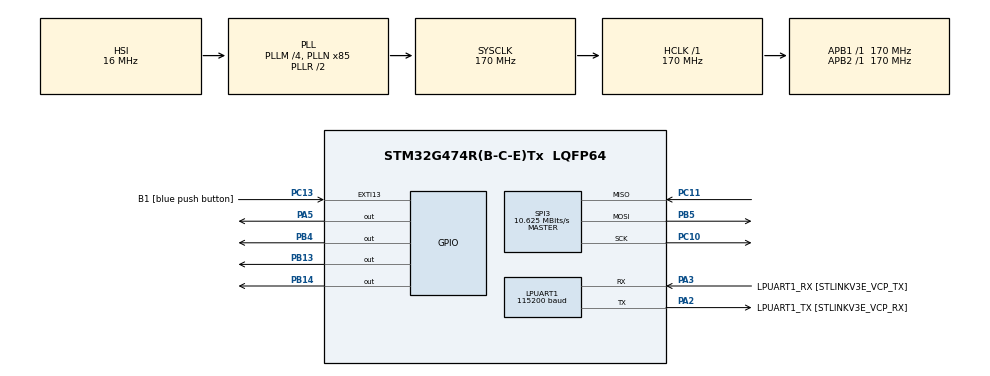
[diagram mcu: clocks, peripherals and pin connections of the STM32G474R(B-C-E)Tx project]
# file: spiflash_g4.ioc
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Dma.Request0=SPI3_RX
Dma.Request1=SPI3_TX
Dma.SPI3_RX.0.Direction=DMA_PERIPH_TO_MEMORY
Dma.SPI3_RX.0.EventEnable=DISABLE
Dma.SPI3_RX.0.Instance=DMA1_Channel1
Dma.SPI3_RX.0.MemDataAlignment=DMA_MDATAALIGN_BYTE
Dma.SPI3_RX.0.MemInc=DMA_MINC_ENABLE
Dma.SPI3_RX.0.Mode=DMA_NORMAL
Dma.SPI3_RX.0.PeriphDataAlignment=DMA_PDATAALIGN_BYTE
Dma.SPI3_RX.0.PeriphInc=DMA_PINC_DISABLE
Dma.SPI3_RX.0.Polarity=HAL_DMAMUX_REQ_GEN_RISING
Dma.SPI3_RX.0.Priority=DMA_PRIORITY_LOW
Dma.SPI3_RX.0.RequestNumber=1
Dma.SPI3_RX.0.SignalID=NONE
Dma.SPI3_RX.0.SyncEnable=DISABLE
Dma.SPI3_RX.0.SyncPolarity=HAL_DMAMUX_SYNC_NO_EVENT
Dma.SPI3_RX.0.SyncRequestNumber=1
Dma.SPI3_RX.0.SyncSignalID=NONE
Dma.SPI3_TX.1.Direction=DMA_MEMORY_TO_PERIPH
Dma.SPI3_TX.1.EventEnable=DISABLE
Dma.SPI3_TX.1.Instance=DMA1_Channel2
Dma.SPI3_TX.1.MemDataAlignment=DMA_MDATAALIGN_BYTE
Dma.SPI3_TX.1.MemInc=DMA_MINC_ENABLE
Dma.SPI3_TX.1.Mode=DMA_NORMAL
Dma.SPI3_TX.1.PeriphDataAlignment=DMA_PDATAALIGN_BYTE
Dma.SPI3_TX.1.PeriphInc=DMA_PINC_DISABLE
Dma.SPI3_TX.1.Polarity=HAL_DMAMUX_REQ_GEN_RISING
Dma.SPI3_TX.1.Priority=DMA_PRIORITY_LOW
Dma.SPI3_TX.1.RequestNumber=1
Dma.SPI3_TX.1.SignalID=NONE
Dma.SPI3_TX.1.SyncEnable=DISABLE
Dma.SPI3_TX.1.SyncPolarity=HAL_DMAMUX_SYNC_NO_EVENT
Dma.SPI3_TX.1.SyncRequestNumber=1
Dma.SPI3_TX.1.SyncSignalID=NONE
LPUART1.BaudRate=115200
LPUART1.WordLength=UART_WORDLENGTH_8B
Mcu.Family=STM32G4
Mcu.Name=STM32G474R(B-C-E)Tx
Mcu.Package=LQFP64
NVIC.DMA1_Channel1_IRQn=true\:0\:0\:false\:false\:true\:false\:true\:true
NVIC.DMA1_Channel2_IRQn=true\:0\:0\:false\:false\:true\:false\:true\:true
NVIC.PriorityGroup=NVIC_PRIORITYGROUP_4
PA13.GPIO_Label=T_SWDIO
PA13.Mode=Serial_Wire
PA13.Signal=SYS_JTMS-SWDIO
PA14.GPIO_Label=T_SWCLK
PA14.Mode=Serial_Wire
PA14.Signal=SYS_JTCK-SWCLK
PA2.GPIO_Label=LPUART1_TX [STLINKV3E_VCP_RX]
PA2.Mode=Asynchronous
PA2.Signal=LPUART1_TX
PA3.GPIO_Label=LPUART1_RX [STLINKV3E_VCP_TX]
PA3.Mode=Asynchronous
PA3.Signal=LPUART1_RX
PA5.Signal=GPIO_Output
PB13.Signal=GPIO_Output
PB14.Signal=GPIO_Output
PB3.GPIO_Label=T_SWO
PB3.Signal=SYS_JTDO-SWO
PB4.Signal=GPIO_Output
PB5.Mode=Full_Duplex_Master
PB5.Signal=SPI3_MOSI
PC10.Mode=Full_Duplex_Master
PC10.Signal=SPI3_SCK
PC11.Mode=Full_Duplex_Master
PC11.Signal=SPI3_MISO
PC13.GPIO_Label=B1 [blue push button]
PC13.GPIO_ModeDefaultEXTI=GPIO_MODE_IT_RISING
PC13.Signal=GPXTI13
PC14-OSC32_IN.Mode=LSE-External-Oscillator
PC14-OSC32_IN.Signal=RCC_OSC32_IN
PC15-OSC32_OUT.Mode=LSE-External-Oscillator
PC15-OSC32_OUT.Signal=RCC_OSC32_OUT
PF0-OSC_IN.Mode=HSE-External-Oscillator
PF0-OSC_IN.Signal=RCC_OSC_IN
PF1-OSC_OUT.Mode=HSE-External-Oscillator
PF1-OSC_OUT.Signal=RCC_OSC_OUT
ProjectManager.HeapSize=0x200
ProjectManager.StackSize=0x400
ProjectManager.TargetToolchain=STM32CubeIDE
RCC.ADC12Freq_Value=170000000
RCC.ADC345Freq_Value=170000000
RCC.AHBFreq_Value=170000000
RCC.APB1Freq_Value=170000000
RCC.APB1TimFreq_Value=170000000
RCC.APB2Freq_Value=170000000
RCC.APB2TimFreq_Value=170000000
RCC.CortexFreq_Value=170000000
RCC.EXTERNAL_CLOCK_VALUE=12288000
RCC.HCLKFreq_Value=170000000
RCC.HSE_VALUE=24000000
RCC.HSI48_VALUE=48000000
RCC.HSI_VALUE=16000000
RCC.PLLM=RCC_PLLM_DIV4
RCC.PLLN=85
RCC.RTCClockSelection=RCC_RTCCLKSOURCE_LSE
RCC.SYSCLKFreq_VALUE=170000000
RCC.SYSCLKSource=RCC_SYSCLKSOURCE_PLLCLK
RCC.USBFreq_Value=170000000
RCC.VCOOutputFreq_Value=340000000
SPI3.BaudRatePrescaler=SPI_BAUDRATEPRESCALER_16
SPI3.CalculateBaudRate=10.625 MBits/s
SPI3.DataSize=SPI_DATASIZE_8BIT
SPI3.Direction=SPI_DIRECTION_2LINES
SPI3.Mode=SPI_MODE_MASTER
SPI3.VirtualType=VM_MASTER
VP_SYS_VS_DBSignals.Mode=DisableDeadBatterySignals
board=NUCLEO-G474RE

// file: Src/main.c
/* USER CODE BEGIN Header */
/**
  ******************************************************************************
  * @file           : main.c
  * @brief          : Main program body
  ******************************************************************************
  * @attention
  *
  * Copyright (c) 2025 STMicroelectronics.
  * All rights reserved.
  *
  * This software is licensed under terms that can be found in the LICENSE file
  * in the root directory of this software component.
  * If no LICENSE file comes with this software, it is provided AS-IS.
  *
  ******************************************************************************
  */
/* USER CODE END Header */

// BUG:
// BUG:
// BUG:
// TODO: More optimizing of trace function
// TODO: Convert trace to ping/pong buffer to avoid -4 kludge or make less appparent
// TODO:

#include "main.h"

/* USER CODE BEGIN Includes */
#include "spiflash.h"
#include "trace_spiflash.h"
#include <stdio.h>
#include <string.h>
#include <stdlib.h>

/* USER CODE END Includes */

UART_HandleTypeDef hlpuart1;

SPI_HandleTypeDef hspi3;
DMA_HandleTypeDef hdma_spi3_rx;
DMA_HandleTypeDef hdma_spi3_tx;

/* USER CODE BEGIN PV */

// Demo traceer
int trace_trigger = 0;
// 1 block = 256 bytes
#define TRACEBUF_SZ_B (1024)
//#define TRACE_FILE_LEN_B (32768 * 8)
#define TRACE_FILE_LEN_B (1024)
uint8_t trace_buf[TRACEBUF_SZ_B+4];

uint32_t thing_a=0;
uint32_t thing_b=0;
trace_object_t traceobj = {
		.stat = 0,
		.buffer_start = trace_buf+4,
		.buffer_len_b = TRACEBUF_SZ_B,
		.trace_entry_len_b = 8,
		.trace_file_len_b = TRACE_FILE_LEN_B,
		.flash_len_b = 1024*1024*16,
		.num_tracevals = 2,
		.tracevals = {
		{&thing_a, 4},
		{&thing_b, 4}
		}
};

// parser
#define MAX_COMMMAND_SIZE (2048)
#define FLASH_BUF_SZ (4096)
#define MAX_PARAMS (512)
typedef enum {
	CMD_GET_ID = 0,
	CMD_GET_ID_BIN = 1,
    CMD_FLASH_READ = 2,
    CMD_FLASH_READ_BINARY = 3,
    CMD_FLASH_WRITE = 4,
    CMD_FLASH_ERASE_SECTOR = 5,
    CMD_FLASH_ERASE_CHIP = 6,
	CMD_TRIGGER_TRACE = 7,
    CMD_INVALID = -1
} command_index_t;
uint32_t params[MAX_PARAMS];

int parse_command(char *input, uint32_t *out_params, size_t max_params);

/* USER CODE END PV */

void SystemClock_Config(void);
static void MX_GPIO_Init(void);
static void MX_DMA_Init(void);
static void MX_LPUART1_UART_Init(void);
static void MX_SPI3_Init(void);
/* USER CODE BEGIN PFP */
#define PUTCHAR_PROTOTYPE int __io_putchar(int ch)
int check_addr_len(uint32_t addr, uint32_t len);

/* USER CODE END PFP */

/* USER CODE BEGIN 0 */

void EXTI15_10_IRQHandler(void)
{
    HAL_GPIO_EXTI_IRQHandler(GPIO_PIN_13 );
    HAL_GPIO_EXTI_IRQHandler(GPIO_PIN_12 );
}
void HAL_GPIO_EXTI_Callback(uint16_t GPIO_Pin)
{
    if (GPIO_Pin == GPIO_PIN_13)
    {
        // This gets called when PA0 has an edge event
        // Your interrupt logic goes here
        HAL_GPIO_TogglePin(GPIOA, GPIO_PIN_5);  // e.g., toggle an LED
    }

}

/* USER CODE END 0 */

int main(void)
{

  /* MCU Configuration--------------------------------------------------------*/

  /* Reset of all peripherals, Initializes the Flash interface and the Systick. */
  HAL_Init();

  /* Configure the system clock */
  SystemClock_Config();

  /* Initialize all configured peripherals */
  MX_GPIO_Init();

  HAL_GPIO_TogglePin(GPIOB, GPIO_PIN_14);				// run commutator
  HAL_Delay(10);

  MX_DMA_Init();
  MX_LPUART1_UART_Init();
  MX_SPI3_Init();
  /* USER CODE BEGIN 2 */

  // enable GPIO interrupts
  HAL_NVIC_SetPriority(EXTI15_10_IRQn, 0, 0);
  HAL_NVIC_EnableIRQ(EXTI15_10_IRQn);

  // enable
  HAL_GPIO_WritePin(GPIOC, GPIO_PIN_3, GPIO_PIN_SET);

  CoreDebug->DEMCR |= CoreDebug_DEMCR_TRCENA_Msk;
  DWT->CYCCNT = 0;
  DWT->CTRL |= DWT_CTRL_CYCCNTENA_Msk;

  /* USER CODE END 2 */

  /* Infinite loop */
  /* USER CODE BEGIN WHILE */

  HAL_Delay(1000);

//  printf("\n\n\nstarting\n\n\n");

  printf("reading flash jedec ID\n");
  uint32_t jedec_id = flash_read_jedec_id(&hspi3);
  printf("Flash JEDEC ID: %02X %02X %02X\n", (jedec_id>>16)&0x000000FF, (jedec_id>>8)&0x000000FF, jedec_id&0x000000FF);

//  spi_test(&hspi3);
  char command_str[MAX_COMMMAND_SIZE];
  uint8_t flash_buffer[FLASH_BUF_SZ];

  printf("SystemCoreClock = %lu\n", SystemCoreClock);

  while (1)
  {

	  if (trace_trigger == 0)
	  {
		  fgets(command_str, sizeof(command_str), stdin);
		  int cmd = parse_command(command_str, params, MAX_PARAMS);
		  uint32_t i, id;
		  switch (cmd)
		  {
		  case CMD_GET_ID:
			  id = flash_read_jedec_id(&hspi3);
			  printf("Flash JEDEC ID: %02X %02X %02X\n", (id>>16)&0x000000FF, (id>>8)&0x000000FF, id&0x000000FF);
			  break;
		  case CMD_GET_ID_BIN:
			  id = flash_read_jedec_id(&hspi3);
			  //printf("%c%c%c\n", (id>>16)&0x000000FF, (id>>8)&0x000000FF, id&0x000000FF);

			  uint8_t id_bytes[3] = {
				  (id >> 16) & 0xFF,
				  (id >> 8)  & 0xFF,
				  id & 0xFF
			  };
			  HAL_UART_Transmit(&hlpuart1, id_bytes, 3, HAL_MAX_DELAY);

			  break;

		  case CMD_FLASH_READ:
			  printf("reading flash, address=%.8X, len=%.8X\n", params[0], params[1]);
			  if (check_addr_len (params[0], params[1]) )
			  {
				  flash_read_dma(params[0], flash_buffer , params[1], &hspi3);

				  for (i=0; i<params[1]-1; i++)
					  printf("%.2X,", flash_buffer[i]);
				  printf("%.2X\n", flash_buffer[i]);
			  }
			  else
			  {
				  printf("parameter error\n");
			  }
			  break;
		  case CMD_FLASH_READ_BINARY:
	//		  printf("reading flash, address=%.8X, len=%.8X\n", params[0], params[1]);
			  if (check_addr_len (params[0], params[1]) )
			  {
				  flash_read_dma(params[0], flash_buffer , params[1], &hspi3);

				  //for (i=0; i<params[1]; i++)
				//	  printf("%c", flash_buffer[i]);
				  HAL_UART_Transmit(&hlpuart1, flash_buffer, params[1], HAL_MAX_DELAY);

			  }
			  else
			  {
				  printf("parameter error\n");
			  }
			  break;
		  case CMD_FLASH_WRITE:
			  if (check_addr_len (params[0], params[1]) )
			  {
				  printf("Writing flash, address=%.8X, len=%.8X\n", params[0], params[1]);
				  uint8_t u8buf[256];
				  for (uint32_t i=0; i<SPIFLASH_PAGE_SIZE; ++i )  u8buf[i] = params[i+2];
				  //flash_page_program_dma_async(params[0], u8buf, params[1], &hspi3);
				  flash_page_program_dma(params[0], u8buf, params[1], &hspi3);
			  }
			  else
			  {
				  printf("parameter error\n");
			  }
			  break;
		  case CMD_FLASH_ERASE_SECTOR:
			  if (check_addr_len (params[0], 4096) )
			  {
				  printf("Erasing sector# %.8X\n", params[0]);
				  flash_erase_sector(params[0], &hspi3);
			  }
			  else
			  {
				  printf("parameter error\n");
			  }
			  break;

		  case CMD_FLASH_ERASE_CHIP:
			  printf("Erasing chip\n");
			  flash_erase_chip(&hspi3);
			  break;
		  case CMD_TRIGGER_TRACE:

				  // uncomment to create trace testfile
				  uint32_t trace_addr = trace_init(&traceobj, "trace_test#1-034", &hspi3);

				  trace_trigger = 1;
				  break;
		  default:
			  printf("Unknown command\n");
			  break;
		  }
	  }
	  else // trace_trigger
	  {
		HAL_GPIO_WritePin(GPIOB, GPIO_PIN_13, GPIO_PIN_RESET);				// run commutator
		thing_a = DWT->CYCCNT;
		uint32_t tt = DWT->CYCCNT;
		trace(&traceobj, &hspi3);
		thing_b = DWT->CYCCNT - tt;
		HAL_GPIO_WritePin(GPIOB, GPIO_PIN_13, GPIO_PIN_SET);				// run commutator
		HAL_GPIO_TogglePin(GPIOB, GPIO_PIN_14);				// run commutator

		HAL_Delay(1);

	  }

	  //HAL_Delay(100);
	  //printf("\n\n\n");

    /* USER CODE END WHILE */

  }
}

void SystemClock_Config(void)
{
  RCC_OscInitTypeDef RCC_OscInitStruct = {0};
  RCC_ClkInitTypeDef RCC_ClkInitStruct = {0};

  /** Configure the main internal regulator output voltage
  */
  HAL_PWREx_ControlVoltageScaling(PWR_REGULATOR_VOLTAGE_SCALE1_BOOST);

  /** Initializes the RCC Oscillators according to the specified parameters
  * in the RCC_OscInitTypeDef structure.
  */
  RCC_OscInitStruct.OscillatorType = RCC_OSCILLATORTYPE_HSI;
  RCC_OscInitStruct.HSIState = RCC_HSI_ON;
  RCC_OscInitStruct.HSICalibrationValue = RCC_HSICALIBRATION_DEFAULT;
  RCC_OscInitStruct.PLL.PLLState = RCC_PLL_ON;
  RCC_OscInitStruct.PLL.PLLSource = RCC_PLLSOURCE_HSI;
  RCC_OscInitStruct.PLL.PLLM = RCC_PLLM_DIV4;
  RCC_OscInitStruct.PLL.PLLN = 85;
  RCC_OscInitStruct.PLL.PLLP = RCC_PLLP_DIV2;
  RCC_OscInitStruct.PLL.PLLQ = RCC_PLLQ_DIV2;
  RCC_OscInitStruct.PLL.PLLR = RCC_PLLR_DIV2;
  if (HAL_RCC_OscConfig(&RCC_OscInitStruct) != HAL_OK)
  {
    Error_Handler();
  }

  /** Initializes the CPU, AHB and APB buses clocks
  */
  RCC_ClkInitStruct.ClockType = RCC_CLOCKTYPE_HCLK|RCC_CLOCKTYPE_SYSCLK
                              |RCC_CLOCKTYPE_PCLK1|RCC_CLOCKTYPE_PCLK2;
  RCC_ClkInitStruct.SYSCLKSource = RCC_SYSCLKSOURCE_PLLCLK;
  RCC_ClkInitStruct.AHBCLKDivider = RCC_SYSCLK_DIV1;
  RCC_ClkInitStruct.APB1CLKDivider = RCC_HCLK_DIV1;
  RCC_ClkInitStruct.APB2CLKDivider = RCC_HCLK_DIV1;

  if (HAL_RCC_ClockConfig(&RCC_ClkInitStruct, FLASH_LATENCY_4) != HAL_OK)
  {
    Error_Handler();
  }
}

static void MX_LPUART1_UART_Init(void)
{

  hlpuart1.Instance = LPUART1;
  hlpuart1.Init.BaudRate = 921600;
  hlpuart1.Init.WordLength = UART_WORDLENGTH_8B;
  hlpuart1.Init.StopBits = UART_STOPBITS_1;
  hlpuart1.Init.Parity = UART_PARITY_NONE;
  hlpuart1.Init.Mode = UART_MODE_TX_RX;
  hlpuart1.Init.HwFlowCtl = UART_HWCONTROL_NONE;
  hlpuart1.Init.OneBitSampling = UART_ONE_BIT_SAMPLE_DISABLE;
  hlpuart1.Init.ClockPrescaler = UART_PRESCALER_DIV1;
  hlpuart1.AdvancedInit.AdvFeatureInit = UART_ADVFEATURE_NO_INIT;
  if (HAL_UART_Init(&hlpuart1) != HAL_OK)
  {
    Error_Handler();
  }
  if (HAL_UARTEx_SetTxFifoThreshold(&hlpuart1, UART_TXFIFO_THRESHOLD_1_8) != HAL_OK)
  {
    Error_Handler();
  }
  if (HAL_UARTEx_SetRxFifoThreshold(&hlpuart1, UART_RXFIFO_THRESHOLD_1_8) != HAL_OK)
  {
    Error_Handler();
  }
  if (HAL_UARTEx_DisableFifoMode(&hlpuart1) != HAL_OK)
  {
    Error_Handler();
  }

}

static void MX_SPI3_Init(void)
{

  /* SPI3 parameter configuration*/
  hspi3.Instance = SPI3;
  hspi3.Init.Mode = SPI_MODE_MASTER;
  hspi3.Init.Direction = SPI_DIRECTION_2LINES;
  hspi3.Init.DataSize = SPI_DATASIZE_8BIT;
  hspi3.Init.CLKPolarity = SPI_POLARITY_LOW;
  hspi3.Init.CLKPhase = SPI_PHASE_1EDGE;
  hspi3.Init.NSS = SPI_NSS_SOFT;
  hspi3.Init.BaudRatePrescaler = SPI_BAUDRATEPRESCALER_16;
  hspi3.Init.FirstBit = SPI_FIRSTBIT_MSB;
  hspi3.Init.TIMode = SPI_TIMODE_DISABLE;
  hspi3.Init.CRCCalculation = SPI_CRCCALCULATION_DISABLE;
  hspi3.Init.CRCPolynomial = 7;
  hspi3.Init.CRCLength = SPI_CRC_LENGTH_DATASIZE;
  hspi3.Init.NSSPMode = SPI_NSS_PULSE_ENABLE;
  if (HAL_SPI_Init(&hspi3) != HAL_OK)
  {
    Error_Handler();
  }

}

static void MX_DMA_Init(void)
{

  /* DMA controller clock enable */
  __HAL_RCC_DMAMUX1_CLK_ENABLE();
  __HAL_RCC_DMA1_CLK_ENABLE();

  /* DMA interrupt init */
  /* DMA1_Channel1_IRQn interrupt configuration */
  HAL_NVIC_SetPriority(DMA1_Channel1_IRQn, 0, 0);
  HAL_NVIC_EnableIRQ(DMA1_Channel1_IRQn);
  /* DMA1_Channel2_IRQn interrupt configuration */
  HAL_NVIC_SetPriority(DMA1_Channel2_IRQn, 0, 0);
  HAL_NVIC_EnableIRQ(DMA1_Channel2_IRQn);

}

static void MX_GPIO_Init(void)
{
  GPIO_InitTypeDef GPIO_InitStruct = {0};

  /* GPIO Ports Clock Enable */
  __HAL_RCC_GPIOC_CLK_ENABLE();
  __HAL_RCC_GPIOF_CLK_ENABLE();
  __HAL_RCC_GPIOA_CLK_ENABLE();
  __HAL_RCC_GPIOB_CLK_ENABLE();

  /*Configure GPIO pin Output Level */
  HAL_GPIO_WritePin(GPIOA, GPIO_PIN_5, GPIO_PIN_RESET);

  /*Configure GPIO pin Output Level */
  HAL_GPIO_WritePin(GPIOB, GPIO_PIN_13|GPIO_PIN_14|GPIO_PIN_4, GPIO_PIN_RESET);

  /*Configure GPIO pin : B1_Pin */
  GPIO_InitStruct.Pin = B1_Pin;
  GPIO_InitStruct.Mode = GPIO_MODE_IT_RISING;
  GPIO_InitStruct.Pull = GPIO_NOPULL;
  HAL_GPIO_Init(B1_GPIO_Port, &GPIO_InitStruct);

  /*Configure GPIO pin : PA5 */
  GPIO_InitStruct.Pin = GPIO_PIN_5;
  GPIO_InitStruct.Mode = GPIO_MODE_OUTPUT_PP;
  GPIO_InitStruct.Pull = GPIO_NOPULL;
  GPIO_InitStruct.Speed = GPIO_SPEED_FREQ_LOW;
  HAL_GPIO_Init(GPIOA, &GPIO_InitStruct);

  /*Configure GPIO pins : PB13 PB14 PB4 */
  GPIO_InitStruct.Pin = GPIO_PIN_13|GPIO_PIN_14|GPIO_PIN_4;
  GPIO_InitStruct.Mode = GPIO_MODE_OUTPUT_PP;
  GPIO_InitStruct.Pull = GPIO_NOPULL;
  GPIO_InitStruct.Speed = GPIO_SPEED_FREQ_LOW;
  HAL_GPIO_Init(GPIOB, &GPIO_InitStruct);

}

/* USER CODE BEGIN 4 */

PUTCHAR_PROTOTYPE
{
  /* Place your implementation of fputc here */
  /* e.g. write a character to the USART1 and Loop until the end of transmission */
  HAL_UART_Transmit(&hlpuart1, (uint8_t *)&ch, 1, 0xFFFF);

  return ch;
}

int _read(int file, char *ptr, int len)
{
    for (int i = 0; i < len; i++) {
        HAL_UART_Receive(&hlpuart1, (uint8_t *)&ptr[i], 1, HAL_MAX_DELAY);

        // Optional: echo back the character
        //HAL_UART_Transmit(&hlpuart1, (uint8_t *)&ptr[i], 1, HAL_MAX_DELAY);

        if (ptr[i] == '\r') {
            ptr[i] = '\n';
            return i + 1;
        }
    }
    return len;
}

int check_addr_len(uint32_t addr, uint32_t len)
{
	if (addr > (1<<24) )
		return 0;
	if (len == 0)
		return 0;
	if (len > (1<<24) )
		return 0;
	return 1;
}
// Max number of parameters the parser will allow

/**
 * Parses a command string into command index and parameters.
 *
 * @param input The input string (e.g., "flash_read, 0x1000, 256")
 * @param out_params Array to fill with parsed uint32_t params
 * @param max_params Size of the out_params array
 * @return Command index (0–3), or CMD_INVALID (-1) if error
 */
char parse_buffer[MAX_COMMMAND_SIZE];
int parse_command(char *input, uint32_t *out_params, size_t max_params) {
    if (!input || !out_params || max_params == 0)
        return CMD_INVALID;

    // Make a modifiable copy
    strncpy(parse_buffer, input, sizeof(parse_buffer));
    parse_buffer[sizeof(parse_buffer) - 1] = '\0';

    // Tokenize
    char *tokens[MAX_PARAMS + 1];  // +1 for command name
    size_t count = 0;
    char *tok = strtok(parse_buffer, ",");
    while (tok && count < MAX_PARAMS + 1) {
        while (*tok == ' ') tok++; // Trim leading spaces
        tokens[count++] = tok;
        tok = strtok(NULL, ",");
    }

    if (count == 0)
        return CMD_INVALID;

    // Identify command
    int cmd_index = CMD_INVALID;
    if (strcmp(tokens[0], "id") == 0)
        cmd_index = CMD_GET_ID;
    else if (strcmp(tokens[0], "idb") == 0)
        cmd_index = CMD_GET_ID_BIN;
    else if (strcmp(tokens[0], "rd") == 0)
        cmd_index = CMD_FLASH_READ;
    else if (strcmp(tokens[0], "rdb") == 0)
        cmd_index = CMD_FLASH_READ_BINARY;
    else if (strcmp(tokens[0], "wr") == 0)
        cmd_index = CMD_FLASH_WRITE;
    else if (strcmp(tokens[0], "er") == 0)
        cmd_index = CMD_FLASH_ERASE_SECTOR;
    else if (strcmp(tokens[0], "erase_chip") == 0)
        cmd_index = CMD_FLASH_ERASE_CHIP;
    else if (strcmp(tokens[0], "tg") == 0)
        cmd_index = CMD_TRIGGER_TRACE;
    else
        return CMD_INVALID;

    // Parameter count check
    size_t expected_min_params = 0;
    switch (cmd_index) {
    	case CMD_GET_ID: expected_min_params = 0; break;
    	case CMD_GET_ID_BIN: expected_min_params = 0; break;
        case CMD_FLASH_READ: expected_min_params = 2; break;
        case CMD_FLASH_WRITE: expected_min_params = 3; break;  // addr, len, 1st byte
        case CMD_FLASH_ERASE_SECTOR: expected_min_params = 1; break;
        case CMD_FLASH_ERASE_CHIP: expected_min_params = 0; break;
    }

    size_t param_count = count - 1;
    if (param_count < expected_min_params || param_count > max_params)
        return CMD_INVALID;

    // Parse parameters as unsigned 32-bit integers
    for (size_t i = 0; i < param_count; ++i) {
        out_params[i] = (uint32_t)strtoul(tokens[i + 1], NULL, 0);
    }

    return cmd_index;
}

/* USER CODE END 4 */

void Error_Handler(void)
{
  __disable_irq();
  while (1)
  {
  }
}
